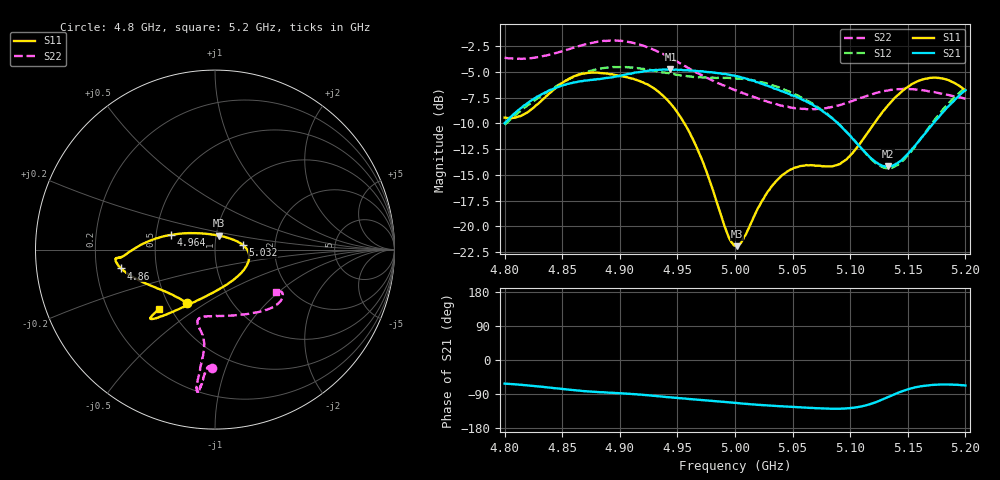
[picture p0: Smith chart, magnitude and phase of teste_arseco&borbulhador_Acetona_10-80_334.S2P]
! Network Analyzer HP8722D
! Hewlett-Packard
! Data name: Linha & Wilkinson
! Saver's name: Rodrigo Anjos
! Comments: Teste da utilização de aquisição
! continua pelo VNA HP8722D
! Time and date: 17/4/2025 17:08
!  Frequency  S11  S21  S12  S22
# HZ  S  MA R 50
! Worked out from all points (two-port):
!   401 points, 4.8 GHz to 5.2 GHz, reference 50 ohm
!   highest |S21| = -4.77 dB at 4.944 GHz (marker M1); lowest = -14.2 dB at 5.133 GHz (marker M2)
!   |S21| within 3 dB of the highest: 4.823 GHz to 5.06 GHz (236.2 MHz wide, 4.78 % of centre); 5.190438 GHz to end of sweep
!   lowest |S11| = -21.9 dB at 5.002 GHz (marker M3), VSWR 1.17, Z = 51.4 + j8.03 ohm
!   |S11| at or under -10 dB: 4.956 GHz to 5.121 GHz (164.8 MHz wide, 3.27 % of centre)
!   |S22| runs from -8.7 to -2.0 dB; largest |S21 - S12| = 0.87
!   S11 on the Smith chart (normalised r, x): 4.8 GHz: 0.62, -0.42; 4.86 GHz: 0.31, -0.09; 4.964 GHz: 0.60, +0.10; 5.032 GHz: 1.36, +0.07; 5.2 GHz: 0.43, -0.36
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4.8e9  0.3369 -117.2  0.3168 -62.3  0.3114 -176.7  0.6582 -91.4
4.819e9  0.3558 -137.5  0.3925 -66.7  0.3822 -176.2  0.6529 -93.1
4.86e9  0.5343 -168.7  0.5001 -79.5  0.5309 -179.8  0.736 -95.5
4.867e9  0.5495 -171.4  0.507 -81.7  0.552 179.0  0.7569 -95.8
4.9e9  0.5384 -175.2  0.5374 -87.7  0.5935 173.0  0.7952 -97.2
4.934e9  0.4484 179.2  0.5753 -95.8  0.5657 169.8  0.6996 -97.3
4.944e9  0.3949 174.7  0.5777 -98.5  0.5498 170.0  0.6566 -97.0
4.964e9  0.261 161.8  0.5688 -103.8  0.5312 171.9  0.5692 -96.4
4.975e9  0.1861 150.7  0.5623 -106.6  0.5276 172.8  0.5277 -96.5
4.993e9  0.09329 111.9  0.5463 -111.1  0.5257 174.1  0.475 -98.8
5e9  0.08048 84.0  0.5374 -113.2  0.5237 174.1  0.4578 -100.1
5.002e9  0.08014 75.3  0.5359 -113.7  0.5204 174.0  0.4548 -100.5
5.032e9  0.1567 9.8  0.4736 -120.8  0.4848 172.9  0.3971 -103.3
5.049e9  0.1892 -6.1  0.4313 -123.4  0.4457 172.3  0.3771 -98.5
5.067e9  0.1978 -25.6  0.3907 -126.4  0.3952 172.0  0.371 -88.2
5.096e9  0.2099 -75.9  0.2895 -127.8  0.2915 174.9  0.3959 -65.8
5.12e9  0.3119 -111.1  0.21 -113.9  0.2075 -169.0  0.4393 -50.0
5.133e9  0.387 -121.2  0.1952 -97.6  0.1914 -150.9  0.4569 -43.7
5.134e9  0.393 -121.9  0.1955 -96.4  0.1915 -149.4  0.4582 -43.3
5.148e9  0.4672 -128.0  0.2187 -79.4  0.215 -129.7  0.4645 -38.2
5.169e9  0.5253 -132.5  0.3012 -66.3  0.3055 -112.7  0.4518 -33.4
5.2e9  0.457 -133.4  0.4582 -67.1  0.4695 -109.2  0.4166 -35.0
